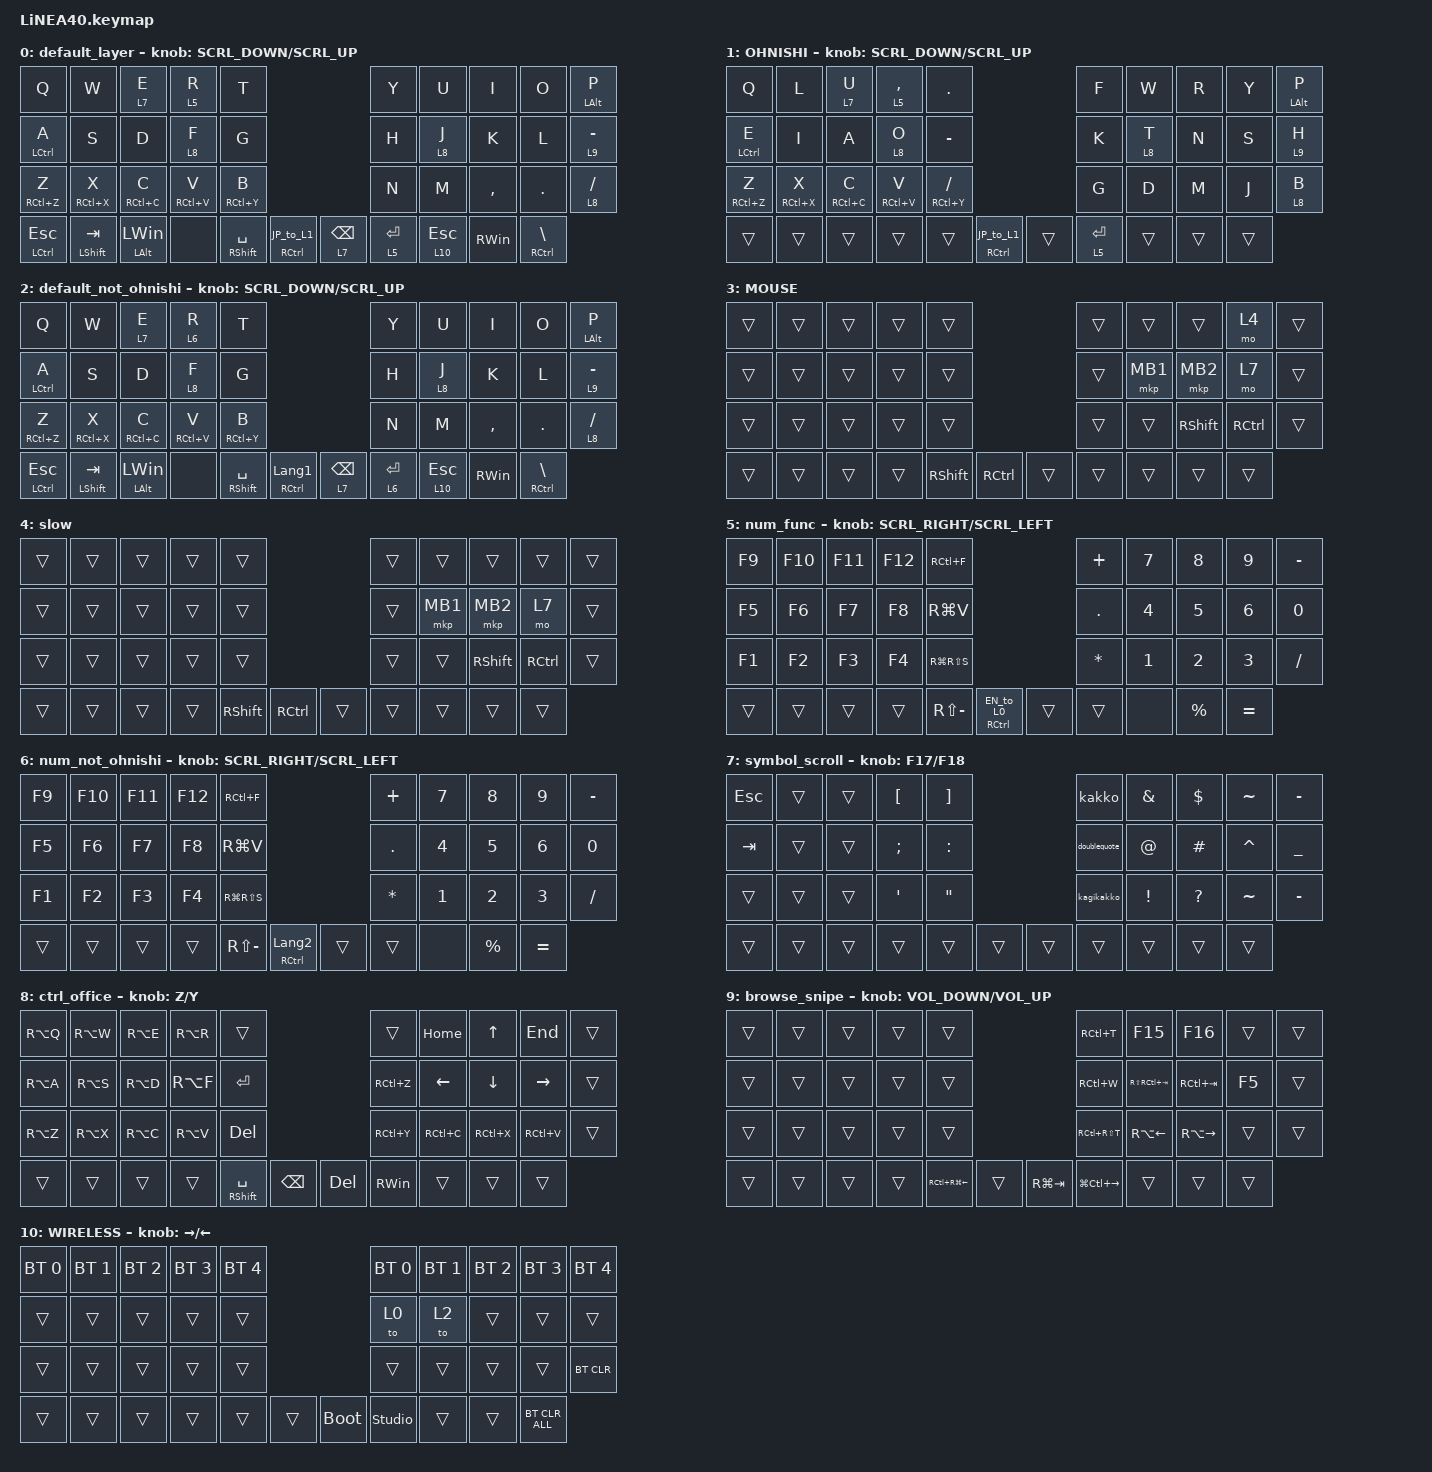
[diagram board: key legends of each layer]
#define ZMK_POINTING_DEFAULT_SCRL_VAL 150

#include <dt-bindings/zmk/input_transform.h>
#include <input/processors.dtsi>
#include <zephyr/dt-bindings/input/input-event-codes.h>
#include <behaviors.dtsi>
#include <dt-bindings/zmk/bt.h>
#include <dt-bindings/zmk/keys.h>
#include <dt-bindings/zmk/pointing.h>

#define MOUSE 1
#define MARK 2
#define CURSOR 3
#define FUNCTION 4
#define SCROLL 5
#define WIRELESS 6

//mouse cursol

&mmv {
    delay-ms = <20>;
    trigger-period-ms = <5>;
    time-to-max-speed-ms = <100>;
    acceleration-exponent = <2>;
};

//mouse scroll

&msc {
    delay-ms = <3>;
    trigger-period-ms = <3>;
    time-to-max-speed-ms = <100>;
    acceleration-exponent = <0>;
};

/ {
    input_processors {
        zip_wheel_scaler: zip_wheel_scaler {
            compatible = "zmk,input-processor-scaler";
            #input-processor-cells = <2>;
            type = <INPUT_EV_REL>;
            codes = <INPUT_REL_WHEEL>;
            track-remainders;
        };
    };
};

&msc_input_listener {
    speed_up {
        layers = <FUNCTION>;
        input-processors = <&zip_wheel_scaler 3 1>; //スクロールを3倍速にする
    };
};

&trackball_listener {
    scroller {
        layers = <SCROLL>;
        input-processors =
            <&zip_xy_transform INPUT_TRANSFORM_Y_INVERT>,
            //スクロール方向を逆転,,,,,,,,,,,,,,,,,,,,,,,,,,,,,,,,,,,,,,
            <&zip_xy_to_scroll_mapper>,
            <&zip_scroll_scaler 1 12>;
    };
};

/ {
    combos {
        compatible = "zmk,combos";

        kakko_left {
            bindings = <&kp LEFT_PARENTHESIS>;
            key-positions = <2 3>;
            layers = <0 1 2>;
            timeout-ms = <40>;
            require-prior-idle-ms = <120>;
        };

        kakko_right {
            bindings = <&kp RIGHT_PARENTHESIS>;
            key-positions = <6 7>;
            layers = <0 1 2>;
            timeout-ms = <40>;
            require-prior-idle-ms = <120>;
        };

        daikakko_left {
            bindings = <&kp LEFT_BRACKET>;
            key-positions = <12 13>;
            layers = <0 1 2>;
            timeout-ms = <40>;
            require-prior-idle-ms = <120>;
        };

        daikakko_right {
            bindings = <&kp RIGHT_BRACKET>;
            key-positions = <16 17>;
            layers = <1 0 2>;
            timeout-ms = <40>;
            require-prior-idle-ms = <120>;
        };

        chukakko_left {
            bindings = <&kp LEFT_BRACE>;
            key-positions = <22 23>;
            layers = <0 1 2>;
            timeout-ms = <40>;
            require-prior-idle-ms = <120>;
        };

        chukakko_right {
            bindings = <&kp RIGHT_BRACE>;
            key-positions = <26 27>;
            layers = <0 1 2>;
            timeout-ms = <40>;
            require-prior-idle-ms = <120>;
        };

        colon {
            bindings = <&kp COLON>;
            key-positions = <13 14>;
            timeout-ms = <40>;
            require-prior-idle-ms = <120>;
            layers = <0 1 2>;
        };

        semicolon {
            bindings = <&kp SEMICOLON>;
            key-positions = <15 16>;
            timeout-ms = <40>;
            require-prior-idle-ms = <120>;
            layers = <0 1 2>;
        };

        doublequote {
            bindings = <&kp DOUBLE_QUOTES>;
            key-positions = <3 4>;
            timeout-ms = <40>;
            require-prior-idle-ms = <120>;
            layers = <0 1 2>;
        };

        quote {
            bindings = <&kp SQT>;
            key-positions = <6 5>;
            timeout-ms = <40>;
            require-prior-idle-ms = <120>;
            layers = <0 1 2>;
        };

        at {
            bindings = <&kp RS(NUMBER_2)>;
            key-positions = <12 13>;
            timeout-ms = <40>;
            require-prior-idle-ms = <120>;
            layers = <5 6>;
        };
    };

    behaviors {
        re_kp: sensor_rotate_kp {
            compatible = "zmk,behavior-sensor-rotate-var";
            #sensor-binding-cells = <2>;
            bindings = <&kp>, <&kp>;
        };

        mouse_scrl: mouse_wheel_scrl {
            compatible = "zmk,behavior-sensor-rotate-var";
            #sensor-binding-cells = <2>;
            bindings = <&msc>, <&msc>;

            tap-ms = <20>;
        };

        volume_up_down: volume_up_down {
            compatible = "zmk,behavior-sensor-rotate";
            label = "VOLUME_UP_DOWN";
            #sensor-binding-cells = <0>;
            bindings = <&kp C_VOLUME_UP>, <&kp C_VOLUME_DOWN>;

            tap-ms = <20>;
        };

        mt_L0EN: mt_L0EN {
            compatible = "zmk,behavior-hold-tap";
            label = "MT_L0EN";
            bindings = <&kp>, <&EN_to_L0>;

            #binding-cells = <2>;
            tapping-term-ms = <200>;
        };

        mt_L1JP: mt_L1JP {
            compatible = "zmk,behavior-hold-tap";
            label = "MT_L1JP";
            bindings = <&kp>, <&JP_to_L1>;

            #binding-cells = <2>;
            tapping-term-ms = <200>;
        };

        mt_qs_on: mt_qs_on {
            compatible = "zmk,behavior-hold-tap";
            label = "MT_QS_ON";
            bindings = <&kp>, <&kp>;

            #binding-cells = <2>;
            tapping-term-ms = <200>;
            quick-tap-ms = <200>;
            flavor = "tap-preferred";
        };

        lt_qs_on: lt_qs_on {
            compatible = "zmk,behavior-hold-tap";
            label = "LT_QS_ON";
            bindings = <&mo>, <&kp>;

            #binding-cells = <2>;
            tapping-term-ms = <200>;
            quick-tap-ms = <200>;
            flavor = "tap-preferred";
        };

        rotate_test: rotate_test {
            compatible = "zmk,behavior-sensor-rotate-var";
            label = "ROTATE_TEST";
            #sensor-binding-cells = <2>;
            bindings = <&sss>, <&ddd>;

            tap-ms = <200>;
        };
    };

    macros {
        EN_to_L0: EN_to_L0 {
            compatible = "zmk,behavior-macro";
            #binding-cells = <0>;
            bindings = <&to 0 &kp LANG2>;
            label = "EN_TO_L0";
        };

        JP_to_L1: JP_to_L1 {
            compatible = "zmk,behavior-macro";
            #binding-cells = <0>;
            bindings = <&to 1 &kp LANGUAGE_1>;
            label = "JP_TO_L1";
        };

        kakko: kakko {
            compatible = "zmk,behavior-macro";
            #binding-cells = <0>;
            bindings = <&kp LANGUAGE_2 &kp LEFT_PARENTHESIS &kp RIGHT_PARENTHESIS &kp LEFT>;
            label = "KAKKO";
        };

        doublequote: new_macro {
            compatible = "zmk,behavior-macro";
            #binding-cells = <0>;
            bindings = <&kp LANGUAGE_2 &kp DOUBLE_QUOTES &kp DOUBLE_QUOTES &kp LEFT>;
            label = "NEW_MACRO";
        };

        kagikakko: kagikakko {
            compatible = "zmk,behavior-macro";
            #binding-cells = <0>;
            bindings = <&kp LANGUAGE_1 &kp LEFT_BRACKET &kp RIGHT_BRACKET &kp SPACE &kp ENTER &kp LEFT>;
            label = "KAGIKAKKO";
        };

        sss: sss {
            compatible = "zmk,behavior-macro";
            #binding-cells = <0>;
            bindings =
                <&kp RIGHT_CONTROL>,
                <&macro_press>,
                <&macro_wait_time 20>,
                <&kp K_SCROLL_UP>,
                <&macro_tap>,
                <&macro_wait_time 20>,
                <&kp RIGHT_CONTROL>,
                <&macro_release>,
                <&macro_wait_time 20>;

            label = "SSS";
        };

        ddd: ddd {
            compatible = "zmk,behavior-macro";
            #binding-cells = <0>;
            bindings =
                <&kp RIGHT_CONTROL>,
                <&macro_press>,
                <&macro_wait_time 20>,
                <&kp Z>,
                <&macro_tap>,
                <&macro_wait_time 20>,
                <&kp RIGHT_CONTROL>,
                <&macro_release>,
                <&macro_wait_time 20>;

            label = "DDD";
        };
    };

    keymap {
        compatible = "zmk,keymap";

        default_layer {
            bindings = <
&kp Q                     &kp W               &lt_qs_on 7 E          &lt_qs_on 5 R      &kp T                                                                           &kp Y              &kp U          &kp I                &kp O          &mt_qs_on LEFT_ALT P
&mt_qs_on LEFT_CONTROL A  &kp S               &kp D                  &lt_qs_on 8 F      &kp G                                                                           &kp H              &lt_qs_on 8 J  &kp K                &kp L          &lt_qs_on 9 MINUS
&mt_qs_on RC(Z) Z         &mt_qs_on RC(X) X   &mt_qs_on RC(C) C      &mt_qs_on RC(V) V  &mt_qs_on RC(Y) B                                                               &kp N              &kp M          &kp COMMA            &kp DOT        &lt_qs_on 8 SLASH
&mt LCTRL ESC             &mt LEFT_SHIFT TAB  &mt LEFT_ALT LEFT_WIN  &none              &mt_qs_on RIGHT_SHIFT SPACE  &mt_L1JP RIGHT_CONTROL 0    &lt_qs_on 7 BACKSPACE  &lt_qs_on 5 ENTER                 &lt_qs_on 10 ESCAPE  &kp RIGHT_WIN  &mt_qs_on RIGHT_CONTROL BACKSLASH
            >;

            sensor-bindings = <&mouse_scrl SCRL_DOWN SCRL_UP>;
        };

        OHNISHI {
            bindings = <
&kp Q                     &kp L              &lt_qs_on 7 U      &lt_qs_on 5 COMMA  &kp PERIOD                                                 &kp F              &kp W          &kp R   &kp Y   &mt_qs_on LEFT_ALT P
&mt_qs_on LEFT_CONTROL E  &kp I              &kp A              &lt_qs_on 8 O      &kp MINUS                                                  &kp K              &lt_qs_on 8 T  &kp N   &kp S   &lt_qs_on 9 H
&mt_qs_on RC(Z) Z         &mt_qs_on RC(X) X  &mt_qs_on RC(C) C  &mt_qs_on RC(V) V  &mt_qs_on RC(Y) SLASH                                      &kp G              &kp D          &kp M   &kp J   &lt_qs_on 8 B
&trans                    &trans             &trans             &trans             &trans                 &mt_L1JP RIGHT_CONTROL 0    &trans  &lt_qs_on 5 ENTER                 &trans  &trans  &trans
            >;

            sensor-bindings = <&mouse_scrl SCRL_DOWN SCRL_UP>;
        };

        default_not_ohnishi {
            bindings = <
&kp Q                     &kp W               &lt_qs_on 7 E          &lt_qs_on 6 R      &kp T                                                                                     &kp Y              &kp U          &kp I                &kp O          &mt_qs_on LEFT_ALT P
&mt_qs_on LEFT_CONTROL A  &kp S               &kp D                  &lt_qs_on 8 F      &kp G                                                                                     &kp H              &lt_qs_on 8 J  &kp K                &kp L          &lt_qs_on 9 MINUS
&mt_qs_on RC(Z) Z         &mt_qs_on RC(X) X   &mt_qs_on RC(C) C      &mt_qs_on RC(V) V  &mt_qs_on RC(Y) B                                                                         &kp N              &kp M          &kp COMMA            &kp DOT        &lt_qs_on 8 SLASH
&mt LCTRL ESC             &mt LEFT_SHIFT TAB  &mt LEFT_ALT LEFT_WIN  &none              &mt_qs_on RIGHT_SHIFT SPACE  &mt_qs_on RIGHT_CONTROL LANGUAGE_1    &lt_qs_on 7 BACKSPACE  &lt_qs_on 6 ENTER                 &lt_qs_on 10 ESCAPE  &kp RIGHT_WIN  &mt_qs_on RIGHT_CONTROL BACKSLASH
            >;

            sensor-bindings = <&mouse_scrl SCRL_DOWN SCRL_UP>;
        };

        MOUSE {
            bindings = <
&trans  &trans  &trans  &trans  &trans                                        &trans  &trans    &trans           &mo 4              &trans
&trans  &trans  &trans  &trans  &trans                                        &trans  &mkp MB1  &mkp MB2         &mo 7              &trans
&trans  &trans  &trans  &trans  &trans                                        &trans  &trans    &kp RIGHT_SHIFT  &kp RIGHT_CONTROL  &trans
&trans  &trans  &trans  &trans  &kp RIGHT_SHIFT  &kp RIGHT_CONTROL    &trans  &trans            &trans           &trans             &trans
            >;
        };

        slow {
            bindings = <
&trans  &trans  &trans  &trans  &trans                                &trans  &trans    &trans           &trans     &trans
&trans  &trans  &trans  &trans  &trans                                &trans  &mkp MB1  &mkp MB2         &mo 7      &trans
&trans  &trans  &trans  &trans  &trans                                &trans  &trans    &kp RIGHT_SHIFT  &kp RCTRL  &trans
&trans  &trans  &trans  &trans  &kp RIGHT_SHIFT  &kp RCTRL    &trans  &trans            &trans           &trans     &trans
            >;
        };

        num_func {
            bindings = <
&kp F9  &kp F10  &kp F11  &kp F12  &kp RC(F)                                          &kp PLUS      &kp NUMBER_7  &kp NUMBER_8  &kp NUMBER_9  &kp MINUS
&kp F5  &kp F6   &kp F7   &kp F8   &kp RG(V)                                          &kp PERIOD    &kp NUMBER_4  &kp NUMBER_5  &kp NUMBER_6  &kp NUMBER_0
&kp F1  &kp F2   &kp F3   &kp F4   &kp RG(RS(S))                                      &kp ASTERISK  &kp NUMBER_1  &kp NUMBER_2  &kp NUMBER_3  &kp SLASH
&trans  &trans   &trans   &trans   &kp RS(MINUS)  &mt_L0EN RIGHT_CONTROL 0    &trans  &trans                      &none         &kp PERCENT   &kp EQUAL
            >;

            sensor-bindings = <&mouse_scrl SCRL_RIGHT SCRL_LEFT>;
        };

        num_not_ohnishi {
            bindings = <
&kp F9  &kp F10  &kp F11  &kp F12  &kp RC(F)                                                    &kp PLUS      &kp NUMBER_7  &kp NUMBER_8  &kp NUMBER_9  &kp MINUS
&kp F5  &kp F6   &kp F7   &kp F8   &kp RG(V)                                                    &kp PERIOD    &kp NUMBER_4  &kp NUMBER_5  &kp NUMBER_6  &kp NUMBER_0
&kp F1  &kp F2   &kp F3   &kp F4   &kp RG(RS(S))                                                &kp ASTERISK  &kp NUMBER_1  &kp NUMBER_2  &kp NUMBER_3  &kp SLASH
&trans  &trans   &trans   &trans   &kp RS(MINUS)  &mt_qs_on RIGHT_CONTROL LANGUAGE_2    &trans  &trans                      &none         &kp PERCENT   &kp EQUAL
            >;

            sensor-bindings = <&mouse_scrl SCRL_RIGHT SCRL_LEFT>;
        };

        symbol_scroll {
            bindings = <
&kp ESCAPE  &trans  &trans  &kp LEFT_BRACKET  &kp RIGHT_BRACKET                    &kakko        &kp AMPERSAND    &kp DOLLAR    &kp TILDE  &kp MINUS
&kp TAB     &trans  &trans  &kp SEMICOLON     &kp COLON                            &doublequote  &kp AT_SIGN      &kp HASH      &kp CARET  &kp UNDERSCORE
&trans      &trans  &trans  &kp SQT           &kp DOUBLE_QUOTES                    &kagikakko    &kp EXCLAMATION  &kp QUESTION  &kp TILDE  &kp MINUS
&trans      &trans  &trans  &trans            &trans             &trans    &trans  &trans                         &trans        &trans     &trans
            >;

            sensor-bindings = <&re_kp F17 F18>;
        };

        ctrl_office {
            bindings = <
&kp RA(Q)  &kp RA(W)  &kp RA(E)  &kp RA(R)  &trans                                                 &trans         &kp HOME   &kp UP_ARROW  &kp END    &trans
&kp RA(A)  &kp RA(S)  &kp RA(D)  &kp RA(F)  &kp ENTER                                              &kp RC(Z)      &kp LEFT   &kp DOWN      &kp RIGHT  &trans
&kp RA(Z)  &kp RA(X)  &kp RA(C)  &kp RA(V)  &kp DELETE                                             &kp RC(Y)      &kp RC(C)  &kp RC(X)     &kp RC(V)  &trans
&trans     &trans     &trans     &trans     &mt_qs_on RIGHT_SHIFT SPACE  &kp BACKSPACE    &kp DEL  &kp RIGHT_WIN             &trans        &trans     &trans
            >;

            sensor-bindings = <&re_kp Z Y>;
        };

        browse_snipe {
            bindings = <
&trans  &trans  &trans  &trans  &trans                                   &kp RC(T)          &kp F15          &kp F16        &trans  &trans
&trans  &trans  &trans  &trans  &trans                                   &kp RC(W)          &kp RS(RC(TAB))  &kp RC(TAB)    &kp F5  &trans
&trans  &trans  &trans  &trans  &trans                                   &kp RC(RS(T))      &kp RA(LEFT)     &kp RA(RIGHT)  &trans  &trans
&trans  &trans  &trans  &trans  &kp RC(RG(LEFT))  &trans    &kp RG(TAB)  &kp LG(LC(RIGHT))                   &trans         &trans  &trans
            >;

            sensor-bindings = <&re_kp C_VOLUME_DOWN C_VOLUME_UP>;
        };

        WIRELESS {
            bindings = <
&bt BT_SEL 0  &bt BT_SEL 1  &bt BT_SEL 2  &bt BT_SEL 3  &bt BT_SEL 4                         &bt BT_SEL 0    &bt BT_SEL 1  &bt BT_SEL 2  &bt BT_SEL 3  &bt BT_SEL 4
&trans        &trans        &trans        &trans        &trans                               &to 0           &to 2         &trans        &trans        &trans
&trans        &trans        &trans        &trans        &trans                               &trans          &trans        &trans        &trans        &bt BT_CLR
&trans        &trans        &trans        &trans        &trans        &trans    &bootloader  &studio_unlock                &trans        &trans        &bt BT_CLR_ALL
            >;

            sensor-bindings = <&inc_dec_kp RIGHT_ARROW LEFT_ARROW>;
        };
    };
};
